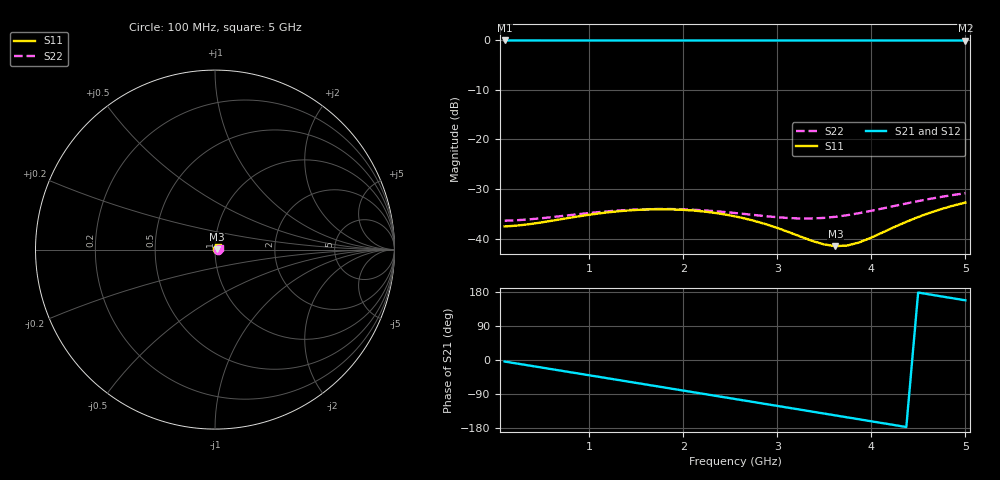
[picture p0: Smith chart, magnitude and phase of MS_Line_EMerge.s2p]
! Generated by EMerge - 2-port S-parameters
! File generated: 2026-02-14 19:14
! Substrate: RO4003C
! h = 0.508 mm
! Design parameters:
! W0 = 1.1 mm
! L0 = 20 mm
! Air box height = 5.08 mm
! Run time = 0.57 min
# GHZ S RI R 50
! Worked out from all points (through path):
!   40 points, 100 MHz to 5 GHz, reference 50 ohm
!   highest |S21| = -0.14 dB at 100 MHz (marker M1); lowest = -0.2 dB at 5 GHz (marker M2)
!   group delay of S21, straight-line fit = 112 ps
!   lowest |S11| = -41.4 dB at 3.618 GHz (marker M3), VSWR 1.02, Z = 50.9 + j0.123 ohm
!   |S11| at or under -10 dB: start of sweep to end of sweep
!   |S22| runs from -36.3 to -30.8 dB; largest |S21 - S12| = 0.00055
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0.1  0.0134 0.000607  0.9812 -0.0691  0.9818 -0.0692  0.0153 0.000526
0.4769231  0.0145 0.00249  0.9286 -0.3237  0.9291 -0.3239  0.016 0.00219
0.7282051  0.0157 0.0032  0.857 -0.4819  0.8575 -0.4822  0.0169 0.00294
0.9794872  0.0172 0.00329  0.7588 -0.6251  0.7592 -0.6254  0.0179 0.00329
1.230769  0.0185 0.00273  0.6369 -0.7488  0.6373 -0.7492  0.0189 0.0032
1.482051  0.0196 0.00158  0.4951 -0.8491  0.4954 -0.8496  0.0196 0.00275
1.858974  0.0199 -0.000814  0.2549 -0.9493  0.255 -0.9498  0.02 0.0017
2.110256  0.0192 -0.00245  0.0836 -0.9793  0.0836 -0.9799  0.0197 0.00102
2.235897  0.0186 -0.00316  -0.00346 -0.9829  -0.00344 -0.9834  0.0194 0.000762
2.361538  0.0178 -0.00375  -0.0905 -0.9787  -0.0905 -0.9792  0.019 0.000593
2.612821  0.0159 -0.00445  -0.2618 -0.9474  -0.262 -0.9479  0.0181 0.00059
2.989744  0.0125 -0.00392  -0.5021 -0.845  -0.5023 -0.8455  0.0166 0.00158
3.366667  0.00956 -0.00139  -0.7071 -0.6827  -0.7075 -0.6831  0.0157 0.00371
3.492308  0.00889 -0.000162  -0.765 -0.6171  -0.7654 -0.6175  0.0157 0.0046
3.617949  0.00844 0.00121  -0.8169 -0.5466  -0.8173 -0.547  0.0158 0.00554
3.74359  0.00822 0.00268  -0.8623 -0.4718  -0.8628 -0.4721  0.0162 0.00649
3.869231  0.00827 0.00421  -0.9009 -0.3931  -0.9014 -0.3933  0.0167 0.00743
4.246154  0.01 0.00868  -0.9727 -0.1407  -0.9733 -0.1408  0.0192 0.00977
4.497436  0.0125 0.0111  -0.9822 0.0346  -0.9827 0.0346  0.0217 0.0106
4.623077  0.014 0.0119  -0.9751 0.1222  -0.9756 0.1222  0.023 0.0108
4.748718  0.0157 0.0126  -0.9602 0.2089  -0.9608 0.209  0.0244 0.0107
5  0.0194 0.013  -0.9075 0.3768  -0.908 0.3769  0.0272 0.0099
